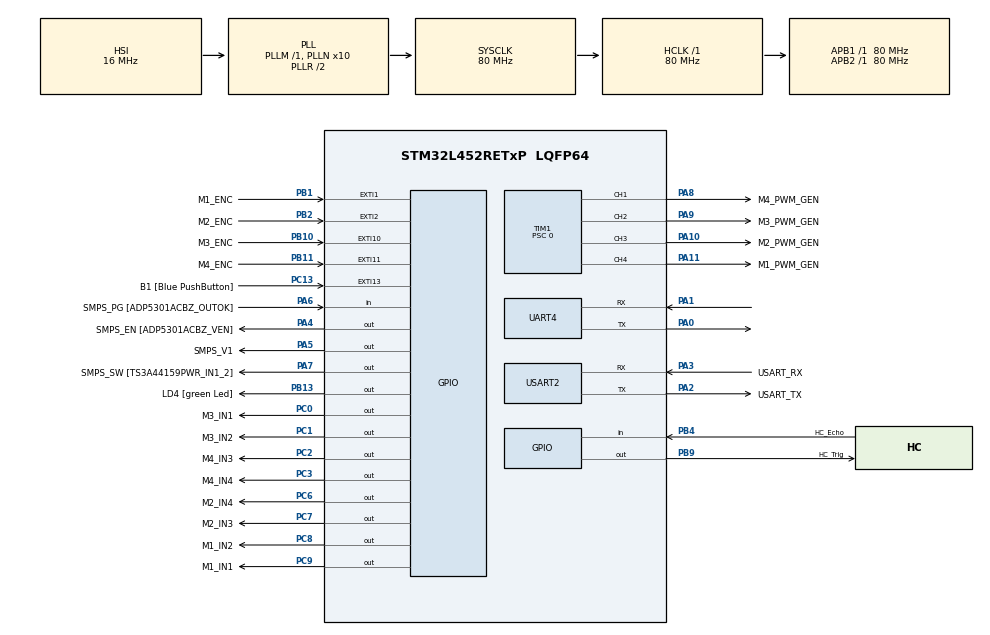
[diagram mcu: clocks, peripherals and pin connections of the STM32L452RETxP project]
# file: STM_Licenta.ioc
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FREERTOS.BinarySemaphores01=uartFree,Dynamic,NULL,Available
FREERTOS.Events01=distanceFlag,Dynamic,NULL
FREERTOS.Tasks01=defaultTask,24,128,StartDefaultTask,Default,NULL,Dynamic,NULL,NULL;transmitTask,24,128,TransmitTask,Default,NULL,Dynamic,NULL,NULL;readDistanceTas,24,128,ReadDistanceTask,Default,NULL,Dynamic,NULL,NULL
FREERTOS.configUSE_NEWLIB_REENTRANT=1
Mcu.Family=STM32L4
Mcu.Name=STM32L452RETxP
Mcu.Package=LQFP64
NVIC.EXTI15_10_IRQn=true\:6\:0\:true\:false\:true\:true\:true\:true\:true
NVIC.EXTI1_IRQn=true\:6\:0\:true\:false\:true\:false\:true\:true\:true
NVIC.EXTI2_IRQn=true\:6\:0\:true\:false\:true\:false\:true\:true\:true
NVIC.PriorityGroup=NVIC_PRIORITYGROUP_4
NVIC.TIM1_CC_IRQn=true\:5\:0\:false\:false\:true\:true\:true\:true\:true
NVIC.TIM6_DAC_IRQn=true\:15\:0\:false\:false\:true\:false\:false\:true\:true
NVIC.TimeBase=TIM6_DAC_IRQn
NVIC.TimeBaseIP=TIM6
NVIC.UART4_IRQn=true\:8\:0\:true\:false\:true\:true\:true\:true\:true
PA0.Mode=Asynchronous
PA0.Signal=UART4_TX
PA1.Mode=Asynchronous
PA1.Signal=UART4_RX
PA10.GPIO_Label=M2_PWM_GEN
PA10.Signal=S_TIM1_CH3
PA11.GPIO_Label=M1_PWM_GEN
PA11.Signal=S_TIM1_CH4
PA13\ (JTMS/SWDIO).GPIO_Label=TMS
PA13\ (JTMS/SWDIO).Mode=Serial_Wire
PA13\ (JTMS/SWDIO).Signal=SYS_JTMS-SWDIO
PA14\ (JTCK/SWCLK).GPIO_Label=TCK
PA14\ (JTCK/SWCLK).Mode=Serial_Wire
PA14\ (JTCK/SWCLK).Signal=SYS_JTCK-SWCLK
PA2.GPIO_Label=USART_TX
PA2.GPIO_Mode=GPIO_MODE_AF_PP
PA2.GPIO_PuPd=GPIO_NOPULL
PA2.GPIO_Speed=GPIO_SPEED_FREQ_VERY_HIGH
PA2.Mode=Asynchronous
PA2.Signal=USART2_TX
PA3.GPIO_Label=USART_RX
PA3.GPIO_Mode=GPIO_MODE_AF_PP
PA3.GPIO_PuPd=GPIO_NOPULL
PA3.GPIO_Speed=GPIO_SPEED_FREQ_VERY_HIGH
PA3.Mode=Asynchronous
PA3.Signal=USART2_RX
PA4.GPIO_Label=SMPS_EN [ADP5301ACBZ_VEN]
PA4.Signal=GPIO_Output
PA5.GPIO_Label=SMPS_V1
PA5.GPIO_ModeDefaultOutputPP=GPIO_MODE_OUTPUT_PP
PA5.GPIO_PuPd=GPIO_NOPULL
PA5.GPIO_Speed=GPIO_SPEED_FREQ_LOW
PA5.Signal=GPIO_Output
PA6.GPIO_Label=SMPS_PG [ADP5301ACBZ_OUTOK]
PA6.GPIO_PuPd=GPIO_PULLUP
PA6.Signal=GPIO_Input
PA7.GPIO_Label=SMPS_SW [TS3A44159PWR_IN1_2]
PA7.Signal=GPIO_Output
PA8.GPIO_Label=M4_PWM_GEN
PA8.Signal=S_TIM1_CH1
PA9.GPIO_Label=M3_PWM_GEN
PA9.Signal=S_TIM1_CH2
PB1.GPIO_Label=M1_ENC
PB1.GPIO_ModeDefaultEXTI=GPIO_MODE_IT_FALLING
PB1.GPIO_PuPd=GPIO_NOPULL
PB1.Signal=GPXTI1
PB10.GPIO_Label=M3_ENC
PB10.GPIO_ModeDefaultEXTI=GPIO_MODE_IT_FALLING
PB10.GPIO_PuPd=GPIO_NOPULL
PB10.Signal=GPXTI10
PB11.GPIO_Label=M4_ENC
PB11.GPIO_ModeDefaultEXTI=GPIO_MODE_IT_FALLING
PB11.GPIO_PuPd=GPIO_NOPULL
PB11.Signal=GPXTI11
PB13.GPIO_Label=LD4 [green Led]
PB13.Signal=GPIO_Output
PB2.GPIO_Label=M2_ENC
PB2.GPIO_ModeDefaultEXTI=GPIO_MODE_IT_FALLING
PB2.GPIO_PuPd=GPIO_NOPULL
PB2.Signal=GPXTI2
PB4\ (NJTRST).GPIO_Label=HC_Echo
PB4\ (NJTRST).Signal=GPIO_Input
PB9.GPIO_Label=HC_Trig
PB9.Signal=GPIO_Output
PC0.GPIO_Label=M3_IN1
PC0.Signal=GPIO_Output
PC1.GPIO_Label=M3_IN2
PC1.Signal=GPIO_Output
PC13.GPIO_Label=B1 [Blue PushButton]
PC13.GPIO_ModeDefaultEXTI=GPIO_MODE_IT_FALLING
PC13.GPIO_PuPd=GPIO_NOPULL
PC13.Signal=GPXTI13
PC14-OSC32_IN\ (PC14).Mode=LSE-External-Oscillator
PC14-OSC32_IN\ (PC14).Signal=RCC_OSC32_IN
PC15-OSC32_OUT\ (PC15).Mode=LSE-External-Oscillator
PC15-OSC32_OUT\ (PC15).Signal=RCC_OSC32_OUT
PC2.GPIO_Label=M4_IN3
PC2.Signal=GPIO_Output
PC3.GPIO_Label=M4_IN4
PC3.Signal=GPIO_Output
PC6.GPIO_Label=M2_IN4
PC6.Signal=GPIO_Output
PC7.GPIO_Label=M2_IN3
PC7.Signal=GPIO_Output
PC8.GPIO_Label=M1_IN2
PC8.Signal=GPIO_Output
PC9.GPIO_Label=M1_IN1
PC9.Signal=GPIO_Output
PH0-OSC_IN\ (PH0).GPIO_Label=MCO
PH0-OSC_IN\ (PH0).Mode=HSE-External-Oscillator
PH0-OSC_IN\ (PH0).Signal=RCC_OSC_IN
PH1-OSC_OUT\ (PH1).Mode=HSE-External-Oscillator
PH1-OSC_OUT\ (PH1).Signal=RCC_OSC_OUT
ProjectManager.HeapSize=0x200
ProjectManager.StackSize=0x400
ProjectManager.TargetToolchain=STM32CubeIDE
RCC.ADCFreq_Value=64000000
RCC.AHBFreq_Value=80000000
RCC.APB1Freq_Value=80000000
RCC.APB1TimFreq_Value=80000000
RCC.APB2Freq_Value=80000000
RCC.APB2TimFreq_Value=80000000
RCC.CortexFreq_Value=80000000
RCC.HCLKFreq_Value=80000000
RCC.HSE_VALUE=8000000
RCC.HSI48_VALUE=48000000
RCC.HSI_VALUE=16000000
RCC.MSI_VALUE=4000000
RCC.PLLN=10
RCC.PLLSourceVirtual=RCC_PLLSOURCE_HSI
RCC.PREFETCH_ENABLE=1
RCC.SYSCLKFreq_VALUE=80000000
RCC.SYSCLKSource=RCC_SYSCLKSOURCE_PLLCLK
RCC.USBFreq_Value=64000000
RCC.VCOOutputFreq_Value=160000000
SH.S_TIM1_CH1.0=TIM1_CH1,PWM Generation1 CH1
SH.S_TIM1_CH2.0=TIM1_CH2,PWM Generation2 CH2
SH.S_TIM1_CH3.0=TIM1_CH3,PWM Generation3 CH3
SH.S_TIM1_CH4.0=TIM1_CH4,PWM Generation4 CH4
TIM1.AutoReloadPreload=TIM_AUTORELOAD_PRELOAD_ENABLE
TIM1.Channel-PWM\ Generation1\ CH1=TIM_CHANNEL_1
TIM1.Channel-PWM\ Generation2\ CH2=TIM_CHANNEL_2
TIM1.Channel-PWM\ Generation3\ CH3=TIM_CHANNEL_3
TIM1.Channel-PWM\ Generation4\ CH4=TIM_CHANNEL_4
TIM1.Prescaler=0
TIM2.Period=1001-1
TIM2.Prescaler=8000-1
USART2.VirtualMode-Asynchronous=VM_ASYNC
VP_FREERTOS_VS_CMSIS_V2.Mode=CMSIS_V2
VP_SYS_VS_tim6.Mode=TIM6
VP_TIM1_VS_ClockSourceINT.Mode=Internal
VP_TIM2_VS_ClockSourceINT.Mode=Internal
VP_TIM3_VS_ClockSourceINT.Mode=Internal
board=NUCLEO-L452RE-P

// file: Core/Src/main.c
/* USER CODE BEGIN Header */
/**
  ******************************************************************************
  * @file           : main.c
  * @brief          : Main program body
  ******************************************************************************
  * @attention
  *
  * Copyright (c) 2026 STMicroelectronics.
  * All rights reserved.
  *
  * This software is licensed under terms that can be found in the LICENSE file
  * in the root directory of this software component.
  * If no LICENSE file comes with this software, it is provided AS-IS.
  *
  ******************************************************************************
  */
/* USER CODE END Header */
#include "main.h"
#include "cmsis_os.h"

/* USER CODE BEGIN Includes */

#include "stdio.h"
#include "string.h"

/* USER CODE END Includes */

TIM_HandleTypeDef htim1;
TIM_HandleTypeDef htim2;
TIM_HandleTypeDef htim3;

UART_HandleTypeDef huart4;
UART_HandleTypeDef huart2;

/* Definitions for defaultTask */
osThreadId_t defaultTaskHandle;
const osThreadAttr_t defaultTask_attributes = {
  .name = "defaultTask",
  .stack_size = 128 * 4,
  .priority = (osPriority_t) osPriorityNormal,
};
/* Definitions for transmitTask */
osThreadId_t transmitTaskHandle;
const osThreadAttr_t transmitTask_attributes = {
  .name = "transmitTask",
  .stack_size = 128 * 4,
  .priority = (osPriority_t) osPriorityNormal,
};
/* Definitions for readDistanceTas */
osThreadId_t readDistanceTasHandle;
const osThreadAttr_t readDistanceTas_attributes = {
  .name = "readDistanceTas",
  .stack_size = 128 * 4,
  .priority = (osPriority_t) osPriorityNormal,
};
/* Definitions for uartFree */
osSemaphoreId_t uartFreeHandle;
const osSemaphoreAttr_t uartFree_attributes = {
  .name = "uartFree"
};
/* Definitions for distanceFlag */
osEventFlagsId_t distanceFlagHandle;
const osEventFlagsAttr_t distanceFlag_attributes = {
  .name = "distanceFlag"
};
/* USER CODE BEGIN PV */

#define DISTANCE_TOO_CLOSE	(1U << 0)

/* USER CODE END PV */

void SystemClock_Config(void);
static void MX_GPIO_Init(void);
static void MX_USART2_UART_Init(void);
static void MX_TIM1_Init(void);
static void MX_UART4_Init(void);
static void MX_TIM2_Init(void);
static void MX_TIM3_Init(void);
void StartDefaultTask(void *argument);
void TransmitTask(void *argument);
void ReadDistanceTask(void *argument);

/* USER CODE BEGIN 0 */

uint8_t message, timer_counter = 0;

int __io_putchar(int ch)
{
 // Write character to ITM ch.0
 ITM_SendChar(ch);
 return(ch);
}

/* USER CODE END 0 */

int main(void)
{

  /* MCU Configuration--------------------------------------------------------*/

  /* Reset of all peripherals, Initializes the Flash interface and the Systick. */
  HAL_Init();

  /* USER CODE BEGIN Init */

  CoreDebug->DEMCR |= CoreDebug_DEMCR_TRCENA_Msk;
  DWT->CYCCNT = 0;
  DWT->CTRL |= DWT_CTRL_CYCCNTENA_Msk;

  /* USER CODE END Init */

  /* Configure the system clock */
  SystemClock_Config();

  /* Initialize all configured peripherals */
  MX_GPIO_Init();
  MX_USART2_UART_Init();
  MX_TIM1_Init();
  MX_UART4_Init();
  MX_TIM2_Init();
  MX_TIM3_Init();
  /* USER CODE BEGIN 2 */
  __HAL_RCC_TIM2_CLK_ENABLE();

  CoreDebug->DEMCR |= CoreDebug_DEMCR_TRCENA_Msk;
  ITM->LAR = 0xC5ACCE55;
  ITM->TCR = ITM_TCR_ITMENA_Msk | ITM_TCR_TSENA_Msk;
  ITM->TER = 1;

  /* USER CODE END 2 */

  /* Init scheduler */
  osKernelInitialize();

  /* Create the semaphores(s) */
  /* creation of uartFree */
  uartFreeHandle = osSemaphoreNew(1, 1, &uartFree_attributes);

  /* Create the thread(s) */
  /* creation of defaultTask */
  defaultTaskHandle = osThreadNew(StartDefaultTask, NULL, &defaultTask_attributes);

  /* creation of transmitTask */
  transmitTaskHandle = osThreadNew(TransmitTask, NULL, &transmitTask_attributes);

  /* creation of readDistanceTas */
  readDistanceTasHandle = osThreadNew(ReadDistanceTask, NULL, &readDistanceTas_attributes);

  /* Create the event(s) */
  /* creation of distanceFlag */
  distanceFlagHandle = osEventFlagsNew(&distanceFlag_attributes);

  /* Start scheduler */
  osKernelStart();

  /* We should never get here as control is now taken by the scheduler */

  /* Infinite loop */
  while (1)
  {

  }
}

void SystemClock_Config(void)
{
  RCC_OscInitTypeDef RCC_OscInitStruct = {0};
  RCC_ClkInitTypeDef RCC_ClkInitStruct = {0};

  /** Configure the main internal regulator output voltage
  */
  if (HAL_PWREx_ControlVoltageScaling(PWR_REGULATOR_VOLTAGE_SCALE1) != HAL_OK)
  {
    Error_Handler();
  }

  /** Initializes the RCC Oscillators according to the specified parameters
  * in the RCC_OscInitTypeDef structure.
  */
  RCC_OscInitStruct.OscillatorType = RCC_OSCILLATORTYPE_HSI;
  RCC_OscInitStruct.HSIState = RCC_HSI_ON;
  RCC_OscInitStruct.HSICalibrationValue = 64;
  RCC_OscInitStruct.PLL.PLLState = RCC_PLL_ON;
  RCC_OscInitStruct.PLL.PLLSource = RCC_PLLSOURCE_HSI;
  RCC_OscInitStruct.PLL.PLLM = 1;
  RCC_OscInitStruct.PLL.PLLN = 10;
  RCC_OscInitStruct.PLL.PLLP = RCC_PLLP_DIV7;
  RCC_OscInitStruct.PLL.PLLQ = RCC_PLLQ_DIV2;
  RCC_OscInitStruct.PLL.PLLR = RCC_PLLR_DIV2;
  if (HAL_RCC_OscConfig(&RCC_OscInitStruct) != HAL_OK)
  {
    Error_Handler();
  }

  /** Initializes the CPU, AHB and APB buses clocks
  */
  RCC_ClkInitStruct.ClockType = RCC_CLOCKTYPE_HCLK|RCC_CLOCKTYPE_SYSCLK
                              |RCC_CLOCKTYPE_PCLK1|RCC_CLOCKTYPE_PCLK2;
  RCC_ClkInitStruct.SYSCLKSource = RCC_SYSCLKSOURCE_PLLCLK;
  RCC_ClkInitStruct.AHBCLKDivider = RCC_SYSCLK_DIV1;
  RCC_ClkInitStruct.APB1CLKDivider = RCC_HCLK_DIV1;
  RCC_ClkInitStruct.APB2CLKDivider = RCC_HCLK_DIV1;

  if (HAL_RCC_ClockConfig(&RCC_ClkInitStruct, FLASH_LATENCY_4) != HAL_OK)
  {
    Error_Handler();
  }
}

static void MX_TIM1_Init(void)
{

  TIM_ClockConfigTypeDef sClockSourceConfig = {0};
  TIM_MasterConfigTypeDef sMasterConfig = {0};
  TIM_OC_InitTypeDef sConfigOC = {0};
  TIM_BreakDeadTimeConfigTypeDef sBreakDeadTimeConfig = {0};

  htim1.Instance = TIM1;
  htim1.Init.Prescaler = 0;
  htim1.Init.CounterMode = TIM_COUNTERMODE_UP;
  htim1.Init.Period = 65535;
  htim1.Init.ClockDivision = TIM_CLOCKDIVISION_DIV1;
  htim1.Init.RepetitionCounter = 0;
  htim1.Init.AutoReloadPreload = TIM_AUTORELOAD_PRELOAD_ENABLE;
  if (HAL_TIM_Base_Init(&htim1) != HAL_OK)
  {
    Error_Handler();
  }
  sClockSourceConfig.ClockSource = TIM_CLOCKSOURCE_INTERNAL;
  if (HAL_TIM_ConfigClockSource(&htim1, &sClockSourceConfig) != HAL_OK)
  {
    Error_Handler();
  }
  if (HAL_TIM_PWM_Init(&htim1) != HAL_OK)
  {
    Error_Handler();
  }
  sMasterConfig.MasterOutputTrigger = TIM_TRGO_RESET;
  sMasterConfig.MasterOutputTrigger2 = TIM_TRGO2_RESET;
  sMasterConfig.MasterSlaveMode = TIM_MASTERSLAVEMODE_DISABLE;
  if (HAL_TIMEx_MasterConfigSynchronization(&htim1, &sMasterConfig) != HAL_OK)
  {
    Error_Handler();
  }
  sConfigOC.OCMode = TIM_OCMODE_PWM1;
  sConfigOC.Pulse = 0;
  sConfigOC.OCPolarity = TIM_OCPOLARITY_HIGH;
  sConfigOC.OCNPolarity = TIM_OCNPOLARITY_HIGH;
  sConfigOC.OCFastMode = TIM_OCFAST_DISABLE;
  sConfigOC.OCIdleState = TIM_OCIDLESTATE_RESET;
  sConfigOC.OCNIdleState = TIM_OCNIDLESTATE_RESET;
  if (HAL_TIM_PWM_ConfigChannel(&htim1, &sConfigOC, TIM_CHANNEL_1) != HAL_OK)
  {
    Error_Handler();
  }
  if (HAL_TIM_PWM_ConfigChannel(&htim1, &sConfigOC, TIM_CHANNEL_2) != HAL_OK)
  {
    Error_Handler();
  }
  if (HAL_TIM_PWM_ConfigChannel(&htim1, &sConfigOC, TIM_CHANNEL_3) != HAL_OK)
  {
    Error_Handler();
  }
  if (HAL_TIM_PWM_ConfigChannel(&htim1, &sConfigOC, TIM_CHANNEL_4) != HAL_OK)
  {
    Error_Handler();
  }
  sBreakDeadTimeConfig.OffStateRunMode = TIM_OSSR_DISABLE;
  sBreakDeadTimeConfig.OffStateIDLEMode = TIM_OSSI_DISABLE;
  sBreakDeadTimeConfig.LockLevel = TIM_LOCKLEVEL_OFF;
  sBreakDeadTimeConfig.DeadTime = 0;
  sBreakDeadTimeConfig.BreakState = TIM_BREAK_DISABLE;
  sBreakDeadTimeConfig.BreakPolarity = TIM_BREAKPOLARITY_HIGH;
  sBreakDeadTimeConfig.BreakFilter = 0;
  sBreakDeadTimeConfig.Break2State = TIM_BREAK2_DISABLE;
  sBreakDeadTimeConfig.Break2Polarity = TIM_BREAK2POLARITY_HIGH;
  sBreakDeadTimeConfig.Break2Filter = 0;
  sBreakDeadTimeConfig.AutomaticOutput = TIM_AUTOMATICOUTPUT_DISABLE;
  if (HAL_TIMEx_ConfigBreakDeadTime(&htim1, &sBreakDeadTimeConfig) != HAL_OK)
  {
    Error_Handler();
  }
  HAL_TIM_MspPostInit(&htim1);

}

static void MX_TIM2_Init(void)
{

  TIM_ClockConfigTypeDef sClockSourceConfig = {0};
  TIM_MasterConfigTypeDef sMasterConfig = {0};

  htim2.Instance = TIM2;
  htim2.Init.Prescaler = 8000-1;
  htim2.Init.CounterMode = TIM_COUNTERMODE_UP;
  htim2.Init.Period = 1001-1;
  htim2.Init.ClockDivision = TIM_CLOCKDIVISION_DIV1;
  htim2.Init.AutoReloadPreload = TIM_AUTORELOAD_PRELOAD_DISABLE;
  if (HAL_TIM_Base_Init(&htim2) != HAL_OK)
  {
    Error_Handler();
  }
  sClockSourceConfig.ClockSource = TIM_CLOCKSOURCE_INTERNAL;
  if (HAL_TIM_ConfigClockSource(&htim2, &sClockSourceConfig) != HAL_OK)
  {
    Error_Handler();
  }
  sMasterConfig.MasterOutputTrigger = TIM_TRGO_RESET;
  sMasterConfig.MasterSlaveMode = TIM_MASTERSLAVEMODE_DISABLE;
  if (HAL_TIMEx_MasterConfigSynchronization(&htim2, &sMasterConfig) != HAL_OK)
  {
    Error_Handler();
  }

}

static void MX_TIM3_Init(void)
{

  TIM_ClockConfigTypeDef sClockSourceConfig = {0};
  TIM_MasterConfigTypeDef sMasterConfig = {0};

  htim3.Instance = TIM3;
  htim3.Init.Prescaler = 0;
  htim3.Init.CounterMode = TIM_COUNTERMODE_UP;
  htim3.Init.Period = 65535;
  htim3.Init.ClockDivision = TIM_CLOCKDIVISION_DIV1;
  htim3.Init.AutoReloadPreload = TIM_AUTORELOAD_PRELOAD_DISABLE;
  if (HAL_TIM_Base_Init(&htim3) != HAL_OK)
  {
    Error_Handler();
  }
  sClockSourceConfig.ClockSource = TIM_CLOCKSOURCE_INTERNAL;
  if (HAL_TIM_ConfigClockSource(&htim3, &sClockSourceConfig) != HAL_OK)
  {
    Error_Handler();
  }
  sMasterConfig.MasterOutputTrigger = TIM_TRGO_RESET;
  sMasterConfig.MasterSlaveMode = TIM_MASTERSLAVEMODE_DISABLE;
  if (HAL_TIMEx_MasterConfigSynchronization(&htim3, &sMasterConfig) != HAL_OK)
  {
    Error_Handler();
  }

}

static void MX_UART4_Init(void)
{

  huart4.Instance = UART4;
  huart4.Init.BaudRate = 115200;
  huart4.Init.WordLength = UART_WORDLENGTH_8B;
  huart4.Init.StopBits = UART_STOPBITS_1;
  huart4.Init.Parity = UART_PARITY_NONE;
  huart4.Init.Mode = UART_MODE_TX_RX;
  huart4.Init.HwFlowCtl = UART_HWCONTROL_NONE;
  huart4.Init.OverSampling = UART_OVERSAMPLING_16;
  huart4.Init.OneBitSampling = UART_ONE_BIT_SAMPLE_DISABLE;
  huart4.AdvancedInit.AdvFeatureInit = UART_ADVFEATURE_NO_INIT;
  if (HAL_UART_Init(&huart4) != HAL_OK)
  {
    Error_Handler();
  }

}

static void MX_USART2_UART_Init(void)
{

  huart2.Instance = USART2;
  huart2.Init.BaudRate = 115200;
  huart2.Init.WordLength = UART_WORDLENGTH_8B;
  huart2.Init.StopBits = UART_STOPBITS_1;
  huart2.Init.Parity = UART_PARITY_NONE;
  huart2.Init.Mode = UART_MODE_TX_RX;
  huart2.Init.HwFlowCtl = UART_HWCONTROL_NONE;
  huart2.Init.OverSampling = UART_OVERSAMPLING_16;
  huart2.Init.OneBitSampling = UART_ONE_BIT_SAMPLE_DISABLE;
  huart2.AdvancedInit.AdvFeatureInit = UART_ADVFEATURE_NO_INIT;
  if (HAL_UART_Init(&huart2) != HAL_OK)
  {
    Error_Handler();
  }

}

static void MX_GPIO_Init(void)
{
  GPIO_InitTypeDef GPIO_InitStruct = {0};

  /* GPIO Ports Clock Enable */
  __HAL_RCC_GPIOC_CLK_ENABLE();
  __HAL_RCC_GPIOH_CLK_ENABLE();
  __HAL_RCC_GPIOA_CLK_ENABLE();
  __HAL_RCC_GPIOB_CLK_ENABLE();

  /*Configure GPIO pin Output Level */
  HAL_GPIO_WritePin(GPIOC, M3_IN1_Pin|M3_IN2_Pin|M4_IN3_Pin|M4_IN4_Pin
                          |M2_IN4_Pin|M2_IN3_Pin|M1_IN2_Pin|M1_IN1_Pin, GPIO_PIN_RESET);

  /*Configure GPIO pin Output Level */
  HAL_GPIO_WritePin(GPIOA, SMPS_EN_Pin|SMPS_V1_Pin|SMPS_SW_Pin, GPIO_PIN_RESET);

  /*Configure GPIO pin Output Level */
  HAL_GPIO_WritePin(GPIOB, LD4_Pin|HC_Trig_Pin, GPIO_PIN_RESET);

  /*Configure GPIO pin : B1_Pin */
  GPIO_InitStruct.Pin = B1_Pin;
  GPIO_InitStruct.Mode = GPIO_MODE_IT_FALLING;
  GPIO_InitStruct.Pull = GPIO_NOPULL;
  HAL_GPIO_Init(B1_GPIO_Port, &GPIO_InitStruct);

  /*Configure GPIO pins : M3_IN1_Pin M3_IN2_Pin M4_IN3_Pin M4_IN4_Pin
                           M2_IN4_Pin M2_IN3_Pin M1_IN2_Pin M1_IN1_Pin */
  GPIO_InitStruct.Pin = M3_IN1_Pin|M3_IN2_Pin|M4_IN3_Pin|M4_IN4_Pin
                          |M2_IN4_Pin|M2_IN3_Pin|M1_IN2_Pin|M1_IN1_Pin;
  GPIO_InitStruct.Mode = GPIO_MODE_OUTPUT_PP;
  GPIO_InitStruct.Pull = GPIO_NOPULL;
  GPIO_InitStruct.Speed = GPIO_SPEED_FREQ_LOW;
  HAL_GPIO_Init(GPIOC, &GPIO_InitStruct);

  /*Configure GPIO pins : SMPS_EN_Pin SMPS_V1_Pin SMPS_SW_Pin */
  GPIO_InitStruct.Pin = SMPS_EN_Pin|SMPS_V1_Pin|SMPS_SW_Pin;
  GPIO_InitStruct.Mode = GPIO_MODE_OUTPUT_PP;
  GPIO_InitStruct.Pull = GPIO_NOPULL;
  GPIO_InitStruct.Speed = GPIO_SPEED_FREQ_LOW;
  HAL_GPIO_Init(GPIOA, &GPIO_InitStruct);

  /*Configure GPIO pin : SMPS_PG_Pin */
  GPIO_InitStruct.Pin = SMPS_PG_Pin;
  GPIO_InitStruct.Mode = GPIO_MODE_INPUT;
  GPIO_InitStruct.Pull = GPIO_PULLUP;
  HAL_GPIO_Init(SMPS_PG_GPIO_Port, &GPIO_InitStruct);

  /*Configure GPIO pins : M1_ENC_Pin M2_ENC_Pin M3_ENC_Pin M4_ENC_Pin */
  GPIO_InitStruct.Pin = M1_ENC_Pin|M2_ENC_Pin|M3_ENC_Pin|M4_ENC_Pin;
  GPIO_InitStruct.Mode = GPIO_MODE_IT_FALLING;
  GPIO_InitStruct.Pull = GPIO_NOPULL;
  HAL_GPIO_Init(GPIOB, &GPIO_InitStruct);

  /*Configure GPIO pins : LD4_Pin HC_Trig_Pin */
  GPIO_InitStruct.Pin = LD4_Pin|HC_Trig_Pin;
  GPIO_InitStruct.Mode = GPIO_MODE_OUTPUT_PP;
  GPIO_InitStruct.Pull = GPIO_NOPULL;
  GPIO_InitStruct.Speed = GPIO_SPEED_FREQ_LOW;
  HAL_GPIO_Init(GPIOB, &GPIO_InitStruct);

  /*Configure GPIO pin : HC_Echo_Pin */
  GPIO_InitStruct.Pin = HC_Echo_Pin;
  GPIO_InitStruct.Mode = GPIO_MODE_INPUT;
  GPIO_InitStruct.Pull = GPIO_NOPULL;
  HAL_GPIO_Init(HC_Echo_GPIO_Port, &GPIO_InitStruct);

  /* EXTI interrupt init*/
  HAL_NVIC_SetPriority(EXTI1_IRQn, 6, 0);
  HAL_NVIC_EnableIRQ(EXTI1_IRQn);

  HAL_NVIC_SetPriority(EXTI2_IRQn, 6, 0);
  HAL_NVIC_EnableIRQ(EXTI2_IRQn);

  HAL_NVIC_SetPriority(EXTI15_10_IRQn, 6, 0);
  HAL_NVIC_EnableIRQ(EXTI15_10_IRQn);

}

/* USER CODE BEGIN 4 */

uint16_t rotationsM1, rotationsM2, rotationsM3, rotationsM4;

typedef struct {
	uint16_t MOTOR_PIN1;
	uint16_t MOTOR_PIN2;
	GPIO_TypeDef* MOTOR_PIN_PORT;

	uint16_t MOTOR_PIN_ENC;
	GPIO_TypeDef* MOTOR_PIN_ENC_PORT;

	uint16_t MOTOR_PIN_PWM;
	GPIO_TypeDef* MOTOR_PIN_PWM_PORT;

	volatile uint16_t MOTOR_ROTATIONS;
} MOTOR;

MOTOR M1, M2, M3, M4;

void InitializeMotorAtts()
{
	M1.MOTOR_PIN1 = M1_IN1_Pin;
	M1.MOTOR_PIN2 = M1_IN2_Pin;
	M1.MOTOR_PIN_PORT = M1_IN1_GPIO_Port;
	M1.MOTOR_PIN_ENC = M1_ENC_Pin;
	M1.MOTOR_PIN_ENC_PORT = M1_ENC_GPIO_Port;
	M1.MOTOR_PIN_PWM = M1_PWM_GEN_Pin;
	M1.MOTOR_PIN_PWM_PORT = M1_PWM_GEN_GPIO_Port;
	M1.MOTOR_ROTATIONS = 0;

	M2.MOTOR_PIN1 = M2_IN3_Pin;
	M2.MOTOR_PIN2 = M2_IN4_Pin;
	M2.MOTOR_PIN_PORT = M2_IN3_GPIO_Port;
	M2.MOTOR_PIN_ENC = M2_ENC_Pin;
	M2.MOTOR_PIN_ENC_PORT = M2_ENC_GPIO_Port;
	M2.MOTOR_PIN_PWM = M2_PWM_GEN_Pin;
	M2.MOTOR_PIN_PWM_PORT = M2_PWM_GEN_GPIO_Port;
	M2.MOTOR_ROTATIONS = 0;

	M3.MOTOR_PIN1 = M3_IN1_Pin;
	M3.MOTOR_PIN2 = M3_IN2_Pin;
	M3.MOTOR_PIN_PORT = M3_IN1_GPIO_Port;
	M3.MOTOR_PIN_ENC = M3_ENC_Pin;
	M3.MOTOR_PIN_ENC_PORT = M3_ENC_GPIO_Port;
	M3.MOTOR_PIN_PWM = M3_PWM_GEN_Pin;
	M3.MOTOR_PIN_PWM_PORT = M3_PWM_GEN_GPIO_Port;
	M3.MOTOR_ROTATIONS = 0;

	M4.MOTOR_PIN1 = M4_IN3_Pin;
	M4.MOTOR_PIN2 = M4_IN4_Pin;
	M4.MOTOR_PIN_PORT = M4_IN3_GPIO_Port;
	M4.MOTOR_PIN_ENC = M4_ENC_Pin;
	M4.MOTOR_PIN_ENC_PORT = M4_ENC_GPIO_Port;
	M4.MOTOR_PIN_PWM = M4_PWM_GEN_Pin;
	M4.MOTOR_PIN_PWM_PORT = M4_PWM_GEN_GPIO_Port;
	M4.MOTOR_ROTATIONS = 0;
}

static uint32_t lastTickM1 = 0;
static uint32_t lastTickM2 = 0;
static uint32_t lastTickM3 = 0;
static uint32_t lastTickM4 = 0;

void HAL_GPIO_EXTI_Callback(uint16_t GPIO_Pin)
{
	uint32_t now = HAL_GetTick();

	if(GPIO_Pin == M1.MOTOR_PIN_ENC && (now - lastTickM1) > 20)
	{
		M1.MOTOR_ROTATIONS ++;
		lastTickM1 = now;
	}
	else if(GPIO_Pin == M2.MOTOR_PIN_ENC && (now - lastTickM2) > 20)
	{
		M2.MOTOR_ROTATIONS ++;
		lastTickM2 = now;
	}
	else if(GPIO_Pin == M3.MOTOR_PIN_ENC && (now - lastTickM3) > 20)
	{
		M3.MOTOR_ROTATIONS ++;
		lastTickM3 = now;
	}
	else if(GPIO_Pin == M4.MOTOR_PIN_ENC && (now - lastTickM4) > 20)
	{
		M4.MOTOR_ROTATIONS ++;
		lastTickM4 = now;
	}
}

void HAL_UART_RxCpltCallback(UART_HandleTypeDef *huart)
{
  if (huart->Instance == UART4)
  {
	osSemaphoreAcquire(uartFreeHandle, 1);
    HAL_UART_Receive_IT(&huart4, &message, 1);
    HAL_GPIO_TogglePin(LD4_GPIO_Port, LD4_Pin);

    uint8_t PWM_DC_VAL = 0 |
    		(message & (1 << 1)) |
			(message & (1 << 2)) |
			(message & (1 << 3));
    PWM_DC_VAL = PWM_DC_VAL >> 1;
    switch(PWM_DC_VAL) {
		case 0:
			__HAL_TIM_SET_COMPARE(&htim1, TIM_CHANNEL_1, 0);
			__HAL_TIM_SET_COMPARE(&htim1, TIM_CHANNEL_2, 0);
			__HAL_TIM_SET_COMPARE(&htim1, TIM_CHANNEL_3, 0);
			__HAL_TIM_SET_COMPARE(&htim1, TIM_CHANNEL_4, 0);
			break;
    	case 1:
    		__HAL_TIM_SET_COMPARE(&htim1, TIM_CHANNEL_1, (uint16_t) 65535 * 0.4);
			__HAL_TIM_SET_COMPARE(&htim1, TIM_CHANNEL_2, (uint16_t) 65535 * 0.4);
			__HAL_TIM_SET_COMPARE(&htim1, TIM_CHANNEL_3, (uint16_t) 65535 * 0.4);
			__HAL_TIM_SET_COMPARE(&htim1, TIM_CHANNEL_4, (uint16_t) 65535 * 0.4);
			break;
    	case 2:
			__HAL_TIM_SET_COMPARE(&htim1, TIM_CHANNEL_1, (uint16_t) 65535 * 0.6);
			__HAL_TIM_SET_COMPARE(&htim1, TIM_CHANNEL_2, (uint16_t) 65535 * 0.6);
			__HAL_TIM_SET_COMPARE(&htim1, TIM_CHANNEL_3, (uint16_t) 65535 * 0.6);
			__HAL_TIM_SET_COMPARE(&htim1, TIM_CHANNEL_4, (uint16_t) 65535 * 0.6);
			break;
    	case 3:
			__HAL_TIM_SET_COMPARE(&htim1, TIM_CHANNEL_1, (uint16_t) 65535 * 0.8);
			__HAL_TIM_SET_COMPARE(&htim1, TIM_CHANNEL_2, (uint16_t) 65535 * 0.8);
			__HAL_TIM_SET_COMPARE(&htim1, TIM_CHANNEL_3, (uint16_t) 65535 * 0.8);
			__HAL_TIM_SET_COMPARE(&htim1, TIM_CHANNEL_4, (uint16_t) 65535 * 0.8);
			break;
    	case 4:
    		__HAL_TIM_SET_COMPARE(&htim1, TIM_CHANNEL_1, 65535);
    		__HAL_TIM_SET_COMPARE(&htim1, TIM_CHANNEL_2, 65535);
    		__HAL_TIM_SET_COMPARE(&htim1, TIM_CHANNEL_3, 65535);
    		__HAL_TIM_SET_COMPARE(&htim1, TIM_CHANNEL_4, 65535);
    		break;
    	default: break;
    }

    uint8_t MOVE_FORWARD = !(message & (1 << 0));

    if (message & (1 << 4)) {
    	if (MOVE_FORWARD) {
    		HAL_GPIO_WritePin(M1.MOTOR_PIN_PORT, M1.MOTOR_PIN1, GPIO_PIN_RESET);
			HAL_GPIO_WritePin(M1.MOTOR_PIN_PORT, M1.MOTOR_PIN2, GPIO_PIN_SET);
    	}
    	else {
    		HAL_GPIO_WritePin(M1.MOTOR_PIN_PORT, M1.MOTOR_PIN1, GPIO_PIN_SET);
			HAL_GPIO_WritePin(M1.MOTOR_PIN_PORT, M1.MOTOR_PIN2, GPIO_PIN_RESET);
    	}
    }
    else {
    	HAL_GPIO_WritePin(M1.MOTOR_PIN_PORT, M1.MOTOR_PIN1, GPIO_PIN_RESET);
    	HAL_GPIO_WritePin(M1.MOTOR_PIN_PORT, M1.MOTOR_PIN2, GPIO_PIN_RESET);
    }

    if (message & (1 << 5)) {
		if (MOVE_FORWARD) {
			HAL_GPIO_WritePin(M2.MOTOR_PIN_PORT, M2.MOTOR_PIN1, GPIO_PIN_RESET);
			HAL_GPIO_WritePin(M2.MOTOR_PIN_PORT, M2.MOTOR_PIN2, GPIO_PIN_SET);
		}
		else {
			HAL_GPIO_WritePin(M2.MOTOR_PIN_PORT, M2.MOTOR_PIN1, GPIO_PIN_SET);
			HAL_GPIO_WritePin(M2.MOTOR_PIN_PORT, M2.MOTOR_PIN2, GPIO_PIN_RESET);
		}
	}
	else {
		HAL_GPIO_WritePin(M2.MOTOR_PIN_PORT, M2.MOTOR_PIN1, GPIO_PIN_RESET);
		HAL_GPIO_WritePin(M2.MOTOR_PIN_PORT, M2.MOTOR_PIN2, GPIO_PIN_RESET);
	}

	if (message & (1 << 6)) {
		if (MOVE_FORWARD) {
			HAL_GPIO_WritePin(M3.MOTOR_PIN_PORT, M3.MOTOR_PIN1, GPIO_PIN_RESET);
			HAL_GPIO_WritePin(M3.MOTOR_PIN_PORT, M3.MOTOR_PIN2, GPIO_PIN_SET);
		}
		else {
			HAL_GPIO_WritePin(M3.MOTOR_PIN_PORT, M3.MOTOR_PIN1, GPIO_PIN_SET);
			HAL_GPIO_WritePin(M3.MOTOR_PIN_PORT, M3.MOTOR_PIN2, GPIO_PIN_RESET);
		}
	}
	else {
		HAL_GPIO_WritePin(M3.MOTOR_PIN_PORT, M3.MOTOR_PIN1, GPIO_PIN_RESET);
		HAL_GPIO_WritePin(M3.MOTOR_PIN_PORT, M3.MOTOR_PIN2, GPIO_PIN_RESET);
	}

	if (message & (1 << 7)) {
		if (MOVE_FORWARD) {
			HAL_GPIO_WritePin(M4.MOTOR_PIN_PORT, M4.MOTOR_PIN1, GPIO_PIN_RESET);
			HAL_GPIO_WritePin(M4.MOTOR_PIN_PORT, M4.MOTOR_PIN2, GPIO_PIN_SET);
		}
		else {
			HAL_GPIO_WritePin(M4.MOTOR_PIN_PORT, M4.MOTOR_PIN1, GPIO_PIN_SET);
			HAL_GPIO_WritePin(M4.MOTOR_PIN_PORT, M4.MOTOR_PIN2, GPIO_PIN_RESET);
		}
	}
	else {
		HAL_GPIO_WritePin(M4.MOTOR_PIN_PORT, M4.MOTOR_PIN1, GPIO_PIN_RESET);
		HAL_GPIO_WritePin(M4.MOTOR_PIN_PORT, M4.MOTOR_PIN2, GPIO_PIN_RESET);
	}

	osSemaphoreRelease(uartFreeHandle);

}
}

/* USER CODE END 4 */

void StartDefaultTask(void *argument)
{
  /* USER CODE BEGIN 5 */

	HAL_UART_Receive_IT(&huart4, &message, 1);
  	__HAL_RCC_TIM2_CLK_ENABLE();
  	HAL_TIM_Base_Start(&htim2);
	HAL_TIM_PWM_Start(&htim1, TIM_CHANNEL_1);
	HAL_TIM_PWM_Start(&htim1, TIM_CHANNEL_2);
	HAL_TIM_PWM_Start(&htim1, TIM_CHANNEL_3);
	HAL_TIM_PWM_Start(&htim1, TIM_CHANNEL_4);
	InitializeMotorAtts();

	uint32_t cnt;

  /* Infinite loop */
	  for(;;)
	  {
		  cnt = __HAL_TIM_GET_COUNTER(&htim2);

		  if(cnt >= 999)
		  {
			  HAL_GPIO_TogglePin(LD4_GPIO_Port, LD4_Pin);
//			  M1.MOTOR_ROTATIONS = 0;
//			  M2.MOTOR_ROTATIONS = 0;
//			  M3.MOTOR_ROTATIONS = 0;
//			  M4.MOTOR_ROTATIONS = 0;
			  cnt = 0;
		  }

		  osDelay(1);
	  }
  /* USER CODE END 5 */
}

void TransmitTask(void *argument)
{
  /* USER CODE BEGIN TransmitTask */
  /* Infinite loop */
	for(;;)
	{
		osSemaphoreAcquire(uartFreeHandle, 10);

		rotationsM1 = M1.MOTOR_ROTATIONS;
		rotationsM2 = M2.MOTOR_ROTATIONS;
		rotationsM3 = M3.MOTOR_ROTATIONS;
		rotationsM4 = M4.MOTOR_ROTATIONS;

		uint32_t flags = osEventFlagsGet(distanceFlagHandle);
		char msg[100];

		if(flags & DISTANCE_TOO_CLOSE)
		{
			strcpy(msg, "tc");
			HAL_UART_Transmit(&huart4, msg, strlen(msg), 10);
			HAL_GPIO_TogglePin(LD4_GPIO_Port, LD4_Pin);
		}
		else {
			uint8_t tx[12];
			tx[0] = 0xAA;
			tx[1] = rotationsM1 & 0xFF;
			tx[2] = (rotationsM1 >> 8) & 0xFF;
			tx[3] = 0xAA;
			tx[4] = rotationsM2 & 0xFF;
			tx[5] = (rotationsM2 >> 8) & 0xFF;
			tx[6] = 0xAA;
			tx[7] = rotationsM3 & 0xFF;
			tx[8] = (rotationsM3 >> 8) & 0xFF;
			tx[9] = 0xAA;
			tx[10] = rotationsM3 & 0xFF;
			tx[11] = (rotationsM3 >> 8) & 0xFF;
			HAL_UART_Transmit(&huart4, tx, 12, 10);

			HAL_GPIO_TogglePin(LD4_GPIO_Port, LD4_Pin);
		}

		osDelay(100);
		osSemaphoreRelease(uartFreeHandle);
	}
  /* USER CODE END TransmitTask */
}

/* USER CODE BEGIN Header_ReadDistanceTask */
/**
* @brief Function implementing the readDistanceTas thread.
* @param argument: Not used
* @retval None
*/

#define CONVERT_TO_DISTANCE(duration) ((float)(duration*0.0343)/2)

typedef struct {
	uint16_t Echo_Pin;
	GPIO_TypeDef* Echo_Pin_PORT;

	uint16_t Trig_Pin;
	GPIO_TypeDef* Trig_Pin_PORT;

	float LAST_DISTANCE_MEASURED;
} HC_04;

HC_04 sensor = {HC_Echo_Pin, HC_Echo_GPIO_Port, HC_Trig_Pin, HC_Trig_GPIO_Port, 0};

/* USER CODE END Header_ReadDistanceTask */
void ReadDistanceTask(void *argument)
{
  /* USER CODE BEGIN ReadDistanceTask */
	uint32_t cnt;
	__HAL_RCC_TIM3_CLK_ENABLE();
	HAL_TIM_Base_Start(&htim3);
  /* Infinite loop */
	for(;;)
	{
		HAL_GPIO_WritePin(sensor.Trig_Pin_PORT, sensor.Trig_Pin, GPIO_PIN_RESET);
		osDelay(2);
		HAL_GPIO_WritePin(sensor.Trig_Pin_PORT, sensor.Trig_Pin, GPIO_PIN_SET);
		osDelay(10);
		HAL_GPIO_WritePin(sensor.Trig_Pin_PORT, sensor.Trig_Pin, GPIO_PIN_RESET);
		__HAL_TIM_SET_COUNTER(&htim3, 0);

		uint32_t t0 = __HAL_TIM_GET_COUNTER(&htim3);
		while(HAL_GPIO_ReadPin(sensor.Echo_Pin_PORT, sensor.Echo_Pin) == GPIO_PIN_RESET)
		{
			if((__HAL_TIM_GET_COUNTER(&htim3) - t0) > 30000)
				goto end;
		}

		__HAL_TIM_SET_COUNTER(&htim3, 0);
		while(HAL_GPIO_ReadPin(sensor.Echo_Pin_PORT, sensor.Echo_Pin) == GPIO_PIN_SET);

		cnt = __HAL_TIM_GET_COUNTER(&htim3);
		sensor.LAST_DISTANCE_MEASURED = CONVERT_TO_DISTANCE(cnt);

		if(sensor.LAST_DISTANCE_MEASURED < 20)
		{
			osEventFlagsSet(distanceFlagHandle, DISTANCE_TOO_CLOSE);
		}
		else
		{
			osEventFlagsClear(distanceFlagHandle, DISTANCE_TOO_CLOSE);
		}

		HAL_GPIO_TogglePin(LD4_GPIO_Port, LD4_Pin);

		end:
			osDelay(60);
	}
  /* USER CODE END ReadDistanceTask */
}

void HAL_TIM_PeriodElapsedCallback(TIM_HandleTypeDef *htim)
{
  if (htim->Instance == TIM6)
  {
    HAL_IncTick();
  }
}

void Error_Handler(void)
{
  __disable_irq();
  while (1)
  {
  }
}
